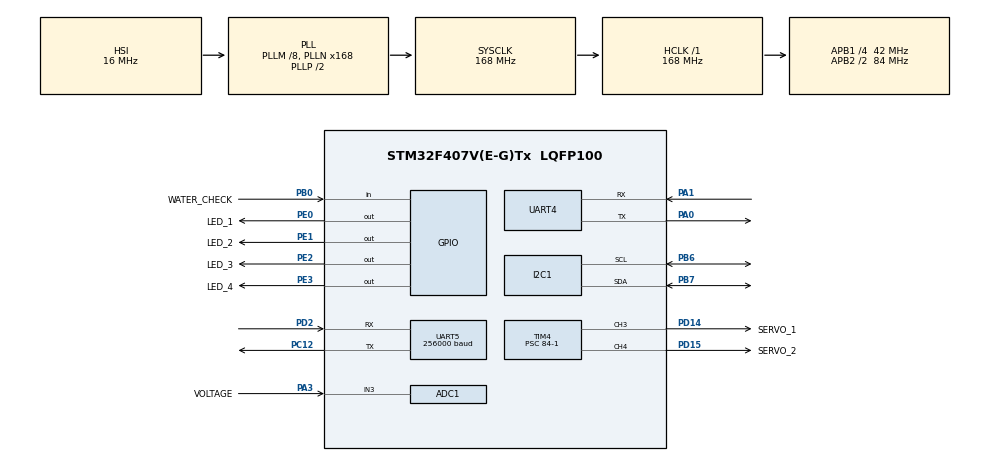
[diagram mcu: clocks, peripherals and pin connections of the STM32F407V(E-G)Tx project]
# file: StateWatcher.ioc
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ADC1.Channel-0\#ChannelRegularConversion=ADC_CHANNEL_3
ADC1.ContinuousConvMode=ENABLE
ADC1.NbrOfConversionFlag=1
ADC1.Rank-0\#ChannelRegularConversion=1
ADC1.SamplingTime-0\#ChannelRegularConversion=ADC_SAMPLETIME_3CYCLES
ADC1.master=1
I2C1.I2C_Mode=I2C_Fast
Mcu.Family=STM32F4
Mcu.Name=STM32F407V(E-G)Tx
Mcu.Package=LQFP100
NVIC.ADC_IRQn=true\:1\:0\:true\:false\:true\:true\:true\:true
NVIC.PriorityGroup=NVIC_PRIORITYGROUP_4
NVIC.UART4_IRQn=true\:4\:0\:true\:false\:true\:true\:true\:true
PA0-WKUP.Mode=Asynchronous
PA0-WKUP.Signal=UART4_TX
PA1.Mode=Asynchronous
PA1.Signal=UART4_RX
PA13.Mode=Serial_Wire
PA13.Signal=SYS_JTMS-SWDIO
PA14.Mode=Serial_Wire
PA14.Signal=SYS_JTCK-SWCLK
PA3.GPIO_Label=VOLTAGE
PA3.Signal=ADCx_IN3
PB0.GPIO_Label=WATER_CHECK
PB0.Signal=GPIO_Input
PB6.Mode=I2C
PB6.Signal=I2C1_SCL
PB7.Mode=I2C
PB7.Signal=I2C1_SDA
PC12.Mode=Asynchronous
PC12.Signal=UART5_TX
PD14.GPIO_Label=SERVO_1
PD14.Signal=S_TIM4_CH3
PD15.GPIO_Label=SERVO_2
PD15.Signal=S_TIM4_CH4
PD2.Mode=Asynchronous
PD2.Signal=UART5_RX
PE0.GPIO_Label=LED_1
PE0.GPIO_Speed=GPIO_SPEED_FREQ_HIGH
PE0.Signal=GPIO_Output
PE1.GPIO_Label=LED_2
PE1.GPIO_Speed=GPIO_SPEED_FREQ_HIGH
PE1.Signal=GPIO_Output
PE2.GPIO_Label=LED_3
PE2.GPIO_Speed=GPIO_SPEED_FREQ_HIGH
PE2.Signal=GPIO_Output
PE3.GPIO_Label=LED_4
PE3.GPIO_Speed=GPIO_SPEED_FREQ_HIGH
PE3.Signal=GPIO_Output
PH0-OSC_IN.Mode=HSE-External-Oscillator
PH0-OSC_IN.Signal=RCC_OSC_IN
PH1-OSC_OUT.Mode=HSE-External-Oscillator
PH1-OSC_OUT.Signal=RCC_OSC_OUT
ProjectManager.HeapSize=0x200
ProjectManager.StackSize=0x400
ProjectManager.TargetToolchain=Makefile
RCC.48MHZClocksFreq_Value=84000000
RCC.AHBFreq_Value=168000000
RCC.APB1CLKDivider=RCC_HCLK_DIV4
RCC.APB1Freq_Value=42000000
RCC.APB1TimFreq_Value=84000000
RCC.APB2CLKDivider=RCC_HCLK_DIV2
RCC.APB2Freq_Value=84000000
RCC.APB2TimFreq_Value=168000000
RCC.CortexFreq_Value=168000000
RCC.HCLKFreq_Value=168000000
RCC.HSE_VALUE=8000000
RCC.HSI_VALUE=16000000
RCC.LSE_VALUE=32768
RCC.PLLM=8
RCC.PLLN=168
RCC.SYSCLKFreq_VALUE=168000000
RCC.SYSCLKSource=RCC_SYSCLKSOURCE_PLLCLK
RCC.VCOOutputFreq_Value=336000000
SH.ADCx_IN3.0=ADC1_IN3,IN3
SH.S_TIM4_CH3.0=TIM4_CH3,PWM Generation3 CH3
SH.S_TIM4_CH4.0=TIM4_CH4,PWM Generation4 CH4
TIM4.Channel-PWM\ Generation3\ CH3=TIM_CHANNEL_3
TIM4.Channel-PWM\ Generation4\ CH4=TIM_CHANNEL_4
TIM4.Period=20000-1
TIM4.Prescaler=84-1
UART4.VirtualMode=Asynchronous
UART5.BaudRate=256000
UART5.VirtualMode=Asynchronous
VP_TIM4_VS_ClockSourceINT.Mode=Internal
board=custom

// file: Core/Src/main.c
/* USER CODE BEGIN Header */
/**
 ******************************************************************************
 * @file           : main.c
 * @brief          : Main program body
 ******************************************************************************
 * @attention
 *
 * Copyright (c) 2023 STMicroelectronics.
 * All rights reserved.
 *
 * This software is licensed under terms that can be found in the LICENSE file
 * in the root directory of this software component.
 * If no LICENSE file comes with this software, it is provided AS-IS.
 *
 ******************************************************************************
 */
/* USER CODE END Header */
#include "main.h"
#include "adc.h"
#include "i2c.h"
#include "tim.h"
#include "usart.h"
#include "gpio.h"

/* USER CODE BEGIN Includes */
#include "voltage.h"
#include "shtc3.h"

#include <stdio.h>
#include <stdlib.h>
#include <string.h>

/* USER CODE END Includes */

/* USER CODE BEGIN PTD */
#pragma pack(1)
typedef struct {
    uint8_t Leak;
    float   Voltage;
    float   Temp;
    float   Hum;
    uint8_t   State; // 向agx发送电磁铁状态
    float   angle[2]; // 向agx发送舵机状态
} Status;

uint8_t uart_buff[256];

/* USER CODE END PTD */

/* USER CODE BEGIN PD */
#define SERVO_UP 2500.0
#define SERVO_DOWN 500.0

/* USER CODE END PD */

/* USER CODE BEGIN PV */
Status DeviceStatus;

uint8_t dvlstate = 0;

float servo[2] = {0.5, 0.0};
uint8_t magnet_state = 0;

/* USER CODE END PV */

void SystemClock_Config(void);

/* USER CODE BEGIN 0 */
uint8_t uart_buff[256];
uint8_t rec_count = 0;

/*
 * 函数�??: dvl_shutdown
 * 描述  : 关闭Dvl
 * 输入  : /
 * 输出  : /
 * 备注  : /
 */
void dvl_shutdown(UART_HandleTypeDef *huart)
{
    uint8_t BUFDVLSHUTDOWN[14] = {0xFC, 0xCF, 0x03, 0x00, 0x00, 0x00, 0x00,
                                  0x00, 0x00, 0x00, 0x00, 0x30, 0xFD, 0xDF};
    HAL_UART_Transmit(huart, BUFDVLSHUTDOWN, 14, 10); // 关闭DVL
}

/*
 * 函数�??: dvl_startup
 * 描述  : �??启Dvl
 * 输入  : /
 * 输出  : /
 * 备注  : /
 */
void dvl_startup(UART_HandleTypeDef *huart)
{
    uint8_t BUFDVLPOWERON[14] = {0xFC, 0xCF, 0x03, 0x01, 0x00, 0x00, 0x00,
                                 0x00, 0x00, 0x00, 0x00, 0x31, 0xFD, 0xDF};
    HAL_UART_Transmit(huart, BUFDVLPOWERON, 14, 10); // 开启DVL
}

// 下行数据
void HAL_UART_RxCpltCallback(UART_HandleTypeDef *huart)
{
    float Servo_angle;
    if (huart == &huart4)
    {
        if (uart_buff[rec_count - 1] == 0xfa && uart_buff[rec_count] == 0xaf && rec_count > 1)
        {
            rec_count    = 1;
            uart_buff[0] = 0xfa;
            uart_buff[1] = 0xaf;
        }
        if (uart_buff[rec_count - 1] == 0xfb && uart_buff[rec_count] == 0xbf && rec_count > 0)
        {
            if (uart_buff[2] == 0x06)
            {
                memcpy(&Servo_angle , uart_buff + 4, 4);
                if(uart_buff[3] == 0x00)
                    servo[0] = Servo_angle;
                if(uart_buff[3] == 0x01)
                    servo[1] = Servo_angle;
            }
            else if (uart_buff[2] == 0x09)
            {
                if (uart_buff[3] == 0x00)
                    magnet_state = 0;
                else
                    magnet_state = 1;
            }
            else if (uart_buff[2] == 0x04)
            {
                if (uart_buff[3] == 1) { dvl_startup(&huart5); }
                if (uart_buff[3] == 0) { dvl_shutdown(&huart5); }
            }

            rec_count = 200;
        }
        if (rec_count > 100)
            rec_count = 0;
        else
            rec_count++;

        __HAL_UART_CLEAR_OREFLAG(&huart4);
        huart4.RxState = HAL_UART_STATE_READY;
        huart4.Lock    = HAL_UNLOCKED;

        HAL_UART_Receive_IT(&huart4, uart_buff + rec_count, 1);
    }
}

uint8_t WaterCheck(void) // 漏水
{
    static uint8_t       counter;
    static GPIO_PinState leak;

    leak = HAL_GPIO_ReadPin(GPIOB, GPIO_PIN_0);

    if (leak == GPIO_PIN_RESET)
    {
        counter++;
        if (counter >= 20)
            return 0x01;
        else
            return 0x00;
    }
    else
    {
        counter = 0;
        return 0x00;
    }
}

/*
 * 函数�??: imu_setmode
 * 描述  : 设置室内导航模式
 * 输入  : /
 * 输出  : /
 * 备注  : /
 */
void imu_setmode(UART_HandleTypeDef *huart)
{
    uint8_t BUFIMUSETMODE[14] = {0xFC, 0xCF, 0x02, 0x00, 0x00, 0x00, 0x00,
                                 0x00, 0x00, 0x00, 0x00, 0x31, 0xFD, 0xDF};
    HAL_UART_Transmit(huart, BUFIMUSETMODE, 14, 10); // 设置室内导航模式
}

/* USER CODE END 0 */

int main(void)
{

    /* MCU Configuration--------------------------------------------------------*/

    /* Reset of all peripherals, Initializes the Flash interface and the Systick. */
    HAL_Init();

    /* Configure the system clock */
    SystemClock_Config();

    /* Initialize all configured peripherals */
    MX_GPIO_Init();
    MX_ADC1_Init();
    MX_I2C1_Init();
    MX_TIM4_Init();
    MX_UART4_Init();
    MX_UART5_Init();
    /* USER CODE BEGIN 2 */
    // 通信
    HAL_UART_Receive_IT(&huart4, (uint8_t *)&uart_buff, 1);
    Dev_Shtc3_init();

    // 电磁铁初始化
    HAL_TIM_PWM_Start(&htim4, TIM_CHANNEL_4);
    __HAL_TIM_SetCompare(&htim4, TIM_CHANNEL_4, 0);
    //舵机初始化
    HAL_TIM_PWM_Start(&htim4, TIM_CHANNEL_3);
    __HAL_TIM_SetCompare(&htim4, TIM_CHANNEL_3, 1500);

    HAL_GPIO_WritePin(GPIOE, GPIO_PIN_0, GPIO_PIN_SET);
    HAL_GPIO_WritePin(GPIOE, GPIO_PIN_1, GPIO_PIN_SET);
    HAL_GPIO_WritePin(GPIOE, GPIO_PIN_2, GPIO_PIN_SET);
    HAL_GPIO_WritePin(GPIOE, GPIO_PIN_3, GPIO_PIN_SET);

    uint8_t life      = 0;
    uint8_t Buff[256] = {0}; // 上行数据缓冲�??

    Buff[0]  = 0xfa;         // 帧头
    Buff[1]  = 0xaf;
    Buff[2]  = 0X01;         // 设备标识�??
    Buff[25] = 0xfb;         // 帧尾
    Buff[26] = 0xbf;

    uint8_t vol_1 = 0, cnt = 0;
    uint32_t volmax = 0;

    /* USER CODE END 2 */

    /* Infinite loop */
    while(1)
    {

        /* USER CODE BEGIN 3 */
        // DVL Manage

        Dev_Shtc3_Refresh();
        DeviceStatus.Temp = SHTC3_Data.temp; // 写入温度
        DeviceStatus.Hum  = SHTC3_Data.hum;  // 写入湿度

        vol_1 = Dev_Voltage_Refresh(hadc1, 3, 4);

        if (volmax < vol_1) volmax = vol_1;
        cnt++;
        if (cnt == 200)
        {
            DeviceStatus.Voltage = volmax*10000; //为了避免c到python的精度损失，这里乘以了10000。
            volmax = cnt = 0;
        }

        //舵机控制
        __HAL_TIM_SetCompare(&htim4, TIM_CHANNEL_3,
                             (int)(servo[0] * (SERVO_UP - SERVO_DOWN) + SERVO_DOWN));

        //电磁铁控制
        if (magnet_state == 0)
            __HAL_TIM_SetCompare(&htim4, TIM_CHANNEL_4, 0);
        else
            __HAL_TIM_SetCompare(&htim4, TIM_CHANNEL_4, 20000);

        DeviceStatus.State = magnet_state;
        DeviceStatus.angle[0] = servo[0];
        DeviceStatus.angle[1] = servo[1];

        DeviceStatus.Leak = WaterCheck();

        // 数据上行
        memcpy(Buff + 3, &DeviceStatus, 22);
        HAL_UART_Transmit(&huart4, Buff, 27, 10);

        if (life)
            HAL_GPIO_WritePin(GPIOE, GPIO_PIN_0, GPIO_PIN_RESET);
        else
            HAL_GPIO_WritePin(GPIOE, GPIO_PIN_0, GPIO_PIN_SET);
        life = !life;
    }
    /* USER CODE END 3 */
}

void SystemClock_Config(void)
{
    RCC_OscInitTypeDef RCC_OscInitStruct = {0};
    RCC_ClkInitTypeDef RCC_ClkInitStruct = {0};

    /** Configure the main internal regulator output voltage
     */
    __HAL_RCC_PWR_CLK_ENABLE();
    __HAL_PWR_VOLTAGESCALING_CONFIG(PWR_REGULATOR_VOLTAGE_SCALE1);

    /** Initializes the RCC Oscillators according to the specified parameters
     * in the RCC_OscInitTypeDef structure.
     */
    RCC_OscInitStruct.OscillatorType      = RCC_OSCILLATORTYPE_HSI;
    RCC_OscInitStruct.HSIState            = RCC_HSI_ON;
    RCC_OscInitStruct.HSICalibrationValue = RCC_HSICALIBRATION_DEFAULT;
    RCC_OscInitStruct.PLL.PLLState        = RCC_PLL_ON;
    RCC_OscInitStruct.PLL.PLLSource       = RCC_PLLSOURCE_HSI;
    RCC_OscInitStruct.PLL.PLLM            = 8;
    RCC_OscInitStruct.PLL.PLLN            = 168;
    RCC_OscInitStruct.PLL.PLLP            = RCC_PLLP_DIV2;
    RCC_OscInitStruct.PLL.PLLQ            = 4;
    if (HAL_RCC_OscConfig(&RCC_OscInitStruct) != HAL_OK) { Error_Handler(); }

    /** Initializes the CPU, AHB and APB buses clocks
     */
    RCC_ClkInitStruct.ClockType =
        RCC_CLOCKTYPE_HCLK | RCC_CLOCKTYPE_SYSCLK | RCC_CLOCKTYPE_PCLK1 | RCC_CLOCKTYPE_PCLK2;
    RCC_ClkInitStruct.SYSCLKSource   = RCC_SYSCLKSOURCE_PLLCLK;
    RCC_ClkInitStruct.AHBCLKDivider  = RCC_SYSCLK_DIV1;
    RCC_ClkInitStruct.APB1CLKDivider = RCC_HCLK_DIV4;
    RCC_ClkInitStruct.APB2CLKDivider = RCC_HCLK_DIV2;

    if (HAL_RCC_ClockConfig(&RCC_ClkInitStruct, FLASH_LATENCY_5) != HAL_OK) { Error_Handler(); }
}

void Error_Handler(void)
{
    __disable_irq();
    while (1) {}
}
